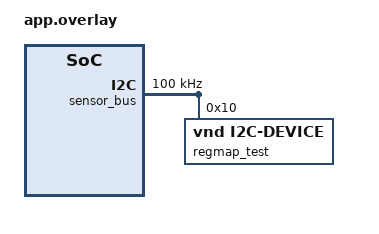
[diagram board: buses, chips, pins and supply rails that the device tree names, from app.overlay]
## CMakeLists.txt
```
# SPDX-FileCopyrightText: Copyright The Zephyr Project Contributors
# SPDX-License-Identifier: Apache-2.0

cmake_minimum_required(VERSION 3.28.0)
find_package(Zephyr REQUIRED HINTS $ENV{ZEPHYR_BASE})
project(sensor_emul_regmap)

target_sources(app PRIVATE src/main.c)
target_compile_definitions(app PRIVATE TEST_BIG_ENDIAN=$<BOOL:${TEST_BIG_ENDIAN}>)
```

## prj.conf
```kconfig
# SPDX-FileCopyrightText: Copyright The Zephyr Project Contributors
# SPDX-License-Identifier: Apache-2.0

CONFIG_ZTEST=y
CONFIG_I2C=y
CONFIG_SENSOR=y
CONFIG_EMUL=y
```

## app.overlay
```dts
/* SPDX-FileCopyrightText: Copyright The Zephyr Project Contributors
 * SPDX-License-Identifier: Apache-2.0
 */
/ {
	sensor_bus: sensor-i2c@100 {
		compatible = "zephyr,i2c-emul-controller";
		reg = <0x100 0x4>;
		#address-cells = <1>;
		#size-cells = <0>;
		clock-frequency = <100000>;

		regmap_test: regmap-test@10 {
			compatible = "vnd,i2c-device";
			reg = <0x10>;
		};
	};
};
```

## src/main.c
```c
/*
 * SPDX-FileCopyrightText: Copyright The Zephyr Project Contributors
 * SPDX-License-Identifier: Apache-2.0
 */

#define DT_DRV_COMPAT vnd_i2c_device

#include <zephyr/drivers/emul_sensor.h>
#include <zephyr/drivers/sensor/emul_sensor_regmap.h>
#include <zephyr/drivers/emul_stub_device.h>
#include <zephyr/drivers/i2c.h>
#include <zephyr/ztest.h>
#include <zephyr/sys/byteorder.h>

#define NODE DT_NODELABEL(regmap_test)
#define ADDR DT_REG_ADDR(NODE)

#define TEST_REGS(R)                                                                               \
	R(ID, 0x00, .flags = EMUL_SENSOR_REG_RO, .reset = 0xAB)                                    \
	R(CTRL, 0x01, .write_mask = GENMASK(5, 0), .self_clear = BIT(0))                           \
	R(STATUS, 0x02, .flags = EMUL_SENSOR_REG_RO, .clear_on_read = BIT(7))                      \
	R(OUT_L, 0x03, .flags = EMUL_SENSOR_REG_RO)                                                \
	R(OUT_H, 0x04, .flags = EMUL_SENSOR_REG_RO)                                                \
	R(WIDE, 0x05, .bytes = 2, .reset = 0x1234)

EMUL_SENSOR_REG_TABLE_DEFINE(test_regs, TEST_REGS);

/* clang-format off */
static const struct emul_sensor_channel test_channels[] = {
	{
		.chan = SENSOR_CHAN_AMBIENT_TEMP,
		.reg = EMUL_SENSOR_REG_ADDR(OUT_L),
		.is_signed = true,
		.bits = 12,
		.pos = 4,
		.lsb = 0.0625,
		.min = -40.0,
		.max = 125.0,
		.ready = {
			.reg = EMUL_SENSOR_REG_ADDR(STATUS),
			.mask = BIT(7),
		},
	},
	{
		.chan = SENSOR_CHAN_PROX,
		.reg = EMUL_SENSOR_REG_ADDR(WIDE),
		.bits = 16,
		.select = {
			.reg = EMUL_SENSOR_REG_ADDR(CTRL),
			.mask = GENMASK(5, 4),
		},
		.variants = {
			{ .lsb = 1.0 },
			{ .lsb = 2.0, .max = 100.0 },
		},
	},
};
/* clang-format on */

EMUL_SENSOR_REGMAP_DEFINE(test_regs, test_channels, .big_endian = TEST_BIG_ENDIAN);
DT_INST_FOREACH_STATUS_OKAY(EMUL_STUB_DEVICE)

static const struct device *bus = DEVICE_DT_GET(DT_BUS(NODE));
static const struct emul *emul = EMUL_DT_GET(NODE);

static uint16_t read_word(uint8_t addr)
{
	uint8_t buf[2];

	zassert_ok(i2c_burst_read(bus, ADDR, addr, buf, sizeof(buf)));
	return TEST_BIG_ENDIAN ? sys_get_be16(buf) : sys_get_le16(buf);
}

static q31_t q31(double value, int8_t shift)
{
	return (q31_t)(value * 2147483648.0 / (double)BIT(shift));
}

static void before(void *fixture)
{
	ARG_UNUSED(fixture);
	zassert_ok(emul->init(emul, NULL));
}

ZTEST(emul_regmap, test_reset_values_and_byte_order)
{
	uint8_t buf[2];

	zassert_ok(i2c_reg_read_byte(bus, ADDR, EMUL_SENSOR_REG_ADDR(ID), &buf[0]));
	zassert_equal(buf[0], 0xAB);
	zassert_ok(i2c_burst_read(bus, ADDR, EMUL_SENSOR_REG_ADDR(WIDE), buf, sizeof(buf)));
	zassert_equal(buf[0], TEST_BIG_ENDIAN ? 0x12 : 0x34);
	zassert_equal(buf[1], TEST_BIG_ENDIAN ? 0x34 : 0x12);
	zassert_equal(read_word(EMUL_SENSOR_REG_ADDR(WIDE)), 0x1234);
}

ZTEST(emul_regmap, test_pointer_persists_and_increments)
{
	uint8_t ptr = EMUL_SENSOR_REG_ADDR(ID);
	uint8_t buf[2];

	zassert_ok(i2c_write(bus, &ptr, 1, ADDR));
	zassert_ok(i2c_read(bus, buf, 2, ADDR));
	zassert_equal(buf[0], 0xAB);
	zassert_equal(buf[1], 0x00);
	zassert_ok(i2c_read(bus, buf, 1, ADDR));
	zassert_equal(buf[0], 0x00);
}

ZTEST(emul_regmap, test_write_mask_and_self_clear)
{
	uint8_t val;

	zassert_ok(i2c_reg_write_byte(bus, ADDR, EMUL_SENSOR_REG_ADDR(CTRL), 0xFF));
	zassert_ok(i2c_reg_read_byte(bus, ADDR, EMUL_SENSOR_REG_ADDR(CTRL), &val));
	zassert_equal(val, 0x3E);
}

ZTEST(emul_regmap, test_wide_register_write)
{
	uint8_t buf[2] = {TEST_BIG_ENDIAN ? 0x56 : 0x78, TEST_BIG_ENDIAN ? 0x78 : 0x56};

	zassert_ok(i2c_burst_write(bus, ADDR, EMUL_SENSOR_REG_ADDR(WIDE), buf, sizeof(buf)));
	zassert_equal(read_word(EMUL_SENSOR_REG_ADDR(WIDE)), 0x5678);
}

ZTEST(emul_regmap, test_read_only_and_unknown_registers)
{
	uint8_t val;

	zassert_ok(i2c_reg_write_byte(bus, ADDR, EMUL_SENSOR_REG_ADDR(ID), 0x00));
	zassert_ok(i2c_reg_read_byte(bus, ADDR, EMUL_SENSOR_REG_ADDR(ID), &val));
	zassert_equal(val, 0xAB);
	zassert_equal(i2c_reg_read_byte(bus, ADDR, 0x40, &val), -EIO);
	zassert_equal(i2c_reg_write_byte(bus, ADDR, 0x40, 0x00), -EIO);
}

ZTEST(emul_regmap, test_set_channel_and_clear_on_read)
{
	struct sensor_chan_spec ch = {.chan_type = SENSOR_CHAN_AMBIENT_TEMP};
	q31_t value = q31(-40.0, 7);
	uint8_t buf[2];
	uint8_t status;

	zassert_ok(emul_sensor_backend_set_channel(emul, ch, &value, 7));
	zassert_ok(i2c_burst_read(bus, ADDR, EMUL_SENSOR_REG_ADDR(OUT_L), buf, sizeof(buf)));
	zassert_equal(buf[0], TEST_BIG_ENDIAN ? 0xD8 : 0x00);
	zassert_equal(buf[1], TEST_BIG_ENDIAN ? 0x00 : 0xD8);
	zassert_ok(i2c_reg_read_byte(bus, ADDR, EMUL_SENSOR_REG_ADDR(STATUS), &status));
	zassert_equal(status, 0x80);
	zassert_ok(i2c_reg_read_byte(bus, ADDR, EMUL_SENSOR_REG_ADDR(STATUS), &status));
	zassert_equal(status, 0x00);
}

ZTEST(emul_regmap, test_sample_range)
{
	struct sensor_chan_spec ch = {.chan_type = SENSOR_CHAN_AMBIENT_TEMP};
	q31_t lower, upper, epsilon;
	int8_t shift;

	zassert_ok(
		emul_sensor_backend_get_sample_range(emul, ch, &lower, &upper, &epsilon, &shift));
	zassert_equal(shift, 7);
	zassert_equal(lower, q31(-40.0, 7));
	zassert_equal(upper, q31(125.0, 7));
	zassert_equal(epsilon, q31(0.0625, 7));

	ch.chan_type = SENSOR_CHAN_MAGN_X;
	zassert_equal(
		emul_sensor_backend_get_sample_range(emul, ch, &lower, &upper, &epsilon, &shift),
		-ENOTSUP);
}

ZTEST(emul_regmap, test_variants)
{
	struct sensor_chan_spec ch = {.chan_type = SENSOR_CHAN_PROX};
	q31_t value = q31(50.0, 6);
	q31_t lower, upper, epsilon;
	int8_t shift;

	zassert_ok(emul_sensor_backend_set_channel(emul, ch, &value, 6));
	zassert_equal(read_word(EMUL_SENSOR_REG_ADDR(WIDE)), 50);
	zassert_ok(
		emul_sensor_backend_get_sample_range(emul, ch, &lower, &upper, &epsilon, &shift));
	zassert_equal(shift, 16);
	zassert_equal(upper, q31(65535.0, 16));

	zassert_ok(i2c_reg_write_byte(bus, ADDR, EMUL_SENSOR_REG_ADDR(CTRL), BIT(4)));
	zassert_ok(emul_sensor_backend_set_channel(emul, ch, &value, 6));
	zassert_equal(read_word(EMUL_SENSOR_REG_ADDR(WIDE)), 25);
	zassert_ok(
		emul_sensor_backend_get_sample_range(emul, ch, &lower, &upper, &epsilon, &shift));
	zassert_equal(shift, 7);
	zassert_equal(upper, q31(100.0, 7));
	zassert_equal(epsilon, q31(2.0, 7));
}

ZTEST(emul_regmap, test_split_write)
{
	uint8_t first[] = {EMUL_SENSOR_REG_ADDR(WIDE), TEST_BIG_ENDIAN ? 0x56 : 0x78};
	uint8_t last = TEST_BIG_ENDIAN ? 0x78 : 0x56;
	struct i2c_msg msgs[] = {
		{.buf = first, .len = sizeof(first), .flags = I2C_MSG_WRITE},
		{.buf = &last, .len = 1, .flags = I2C_MSG_WRITE | I2C_MSG_STOP},
	};

	zassert_ok(i2c_transfer(bus, msgs, ARRAY_SIZE(msgs), ADDR));
	zassert_equal(read_word(EMUL_SENSOR_REG_ADDR(WIDE)), 0x5678);
}

ZTEST(emul_regmap, test_invalid_input)
{
	struct sensor_chan_spec ch = {.chan_type = SENSOR_CHAN_AMBIENT_TEMP};
	q31_t value = q31(126.0, 7);

	zassert_equal(emul_sensor_backend_set_channel(emul, ch, &value, 7), -ERANGE);
	zassert_equal(emul_sensor_backend_set_channel(emul, ch, NULL, 7), -EINVAL);
	zassert_equal(emul_sensor_backend_set_channel(emul, ch, &value, 32), -EINVAL);
	ch.chan_idx = 1;
	zassert_equal(emul_sensor_backend_set_channel(emul, ch, &value, 7), -ENOTSUP);
}

ZTEST_SUITE(emul_regmap, NULL, NULL, before, NULL, NULL);
```
